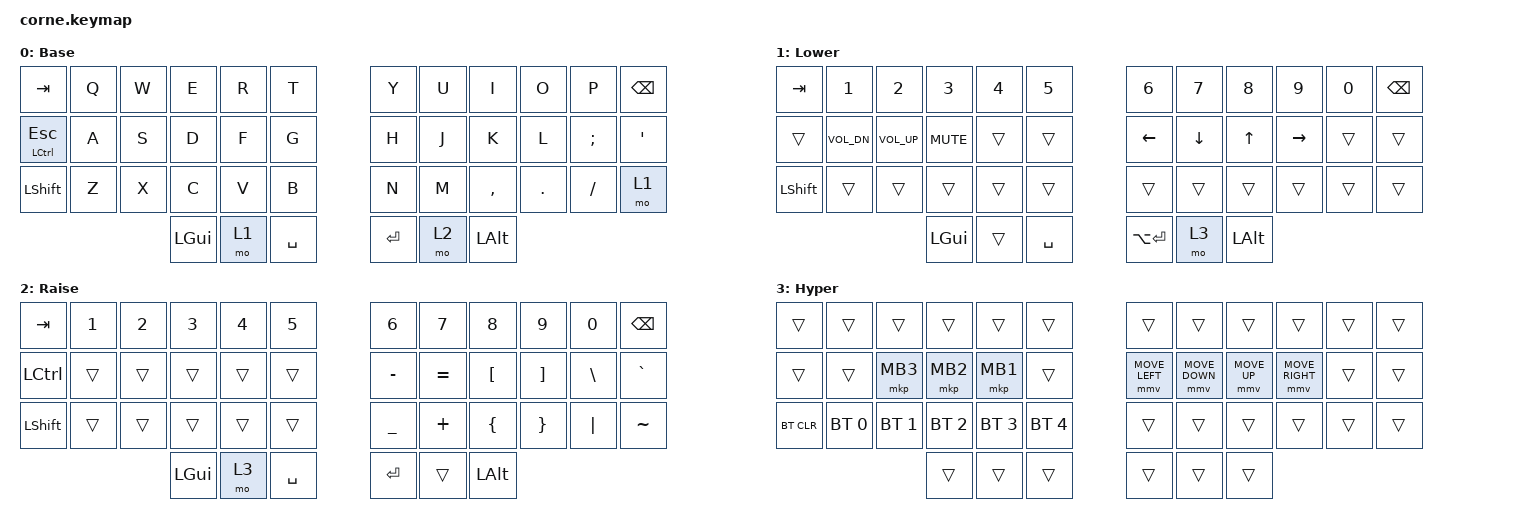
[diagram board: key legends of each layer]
/*
 * Copyright (c) 2020 The ZMK Contributors
 *
 * SPDX-License-Identifier: MIT
 */

#include <behaviors.dtsi>
#include <dt-bindings/zmk/keys.h>
#include <dt-bindings/zmk/bt.h>
#include <dt-bindings/zmk/pointing.h>

/ {
        behaviors {
                mt_esc: mod_tap_esc {
                        compatible = "zmk,behavior-hold-tap";
                        #binding-cells = <2>;
                        flavor = "hold-preferred";
                        tapping-term-ms = <150>;
                        bindings = <&kp>, <&kp>;
                };
        };

        keymap {
                compatible = "zmk,keymap";

                default_layer {
                        display-name = "Base";
// -----------------------------------------------------------------------------------------
// |  ESC |  Q  |  W  |  E  |  R  |  T  |   |  Y  |  U   |  I  |  O  |  P  | BSPC |
// | CTRL |  A  |  S  |  D  |  F  |  G  |   |  H  |  J   |  K  |  L  |  ;  |  '   |
// | SHFT |  Z  |  X  |  C  |  V  |  B  |   |  N  |  M   |  ,  |  .  |  /  | TAB  |
//                    | LWR | GUI | SPC |   | ENT | ALT | RSE |
                        bindings = <
   &kp TAB   &kp Q &kp W &kp E &kp R &kp T   &kp Y &kp U  &kp I     &kp O   &kp P    &kp BSPC
   &mt_esc LCTRL ESC &kp A &kp S &kp D &kp F &kp G   &kp H &kp J  &kp K     &kp L   &kp SEMI &kp SQT
   &kp LSHFT &kp Z &kp X &kp C &kp V &kp B   &kp N &kp M  &kp COMMA &kp DOT &kp FSLH &mo 1
                  &kp LGUI &mo 1 &kp SPACE   &kp RET  &mo 2 &kp LALT
                        >;
                };
                lower_layer {
                        display-name = "Lower";
// -----------------------------------------------------------------------------------------
// |  TAB |  1  |  2  |  3  |  4  |  5  |   |  6  |  7  |  8  |  9  |  0  | BSPC |
// | BTCLR| BT1 | BT2 | BT3 | BT4 | BT5 |   | LFT | DWN |  UP | RGT |     |      |
// | SHFT |     |     |     |     |     |   |     |     |     |     |     |      |
//                    | GUI |     | SPC |   | ENT |     | ALT |
                        bindings = <
   &kp TAB    &kp N1       &kp N2       &kp N3       &kp N4       &kp N5         &kp N6   &kp N7   &kp N8 &kp N9    &kp N0 &kp BSPC
   &trans     &kp C_VOL_DN &kp C_VOL_UP &kp C_MUTE   &trans       &trans         &kp LEFT &kp DOWN &kp UP &kp RIGHT &trans &trans
   &kp LSHFT  &trans       &trans       &trans       &trans       &trans         &trans   &trans   &trans &trans    &trans &trans
                                    &kp LGUI &trans &kp SPACE     &kp LA(RET)  &mo 3 &kp LALT
                        >;
                };

                raise_layer {
                        display-name = "Raise";
// -----------------------------------------------------------------------------------------
// |  TAB |  1  |  2  |  3  |  4  |  5  |   |  6  |  7  |  8  |  9  |  0  | BSPC |
// | CTRL |     |     |     |     |     |   |  -  |  =  |  [  |  ]  |  \  |  `   |
// | SHFT |     |     |     |     |     |   |  _  |  +  |  {  |  }  | "|" |  ~   |
//                    | GUI |     | SPC |   | ENT |     | ALT |
                        bindings = <
   &kp  TAB  &kp N1 &kp N2 &kp N3 &kp N4 &kp N5   &kp N6 &kp N7  &kp N8 &kp N9 &kp N0 &kp BSPC
   &kp LCTRL &trans   &trans &trans   &trans   &trans      &kp MINUS &kp EQUAL &kp LBKT  &kp RBKT &kp BSLH &kp GRAVE
   &kp LSHFT &trans   &trans &trans   &trans   &trans      &kp UNDER &kp PLUS  &kp LBRC  &kp RBRC &kp PIPE &kp TILDE
                             &kp LGUI &mo 3 &kp SPACE   &kp RET   &trans  &kp LALT
                        >;
                };

                adjust_layer {
                        display-name = "Hyper";
// -----------------------------------------------------------------------------------------
// |      |     |     |     |     |     |   |     |     |     |     |     |      |
// |      |     | MB3 | MB2 | MB1 |     |   | M_L | M_D | M_U | M_R |     |      |
// |bt clr   |     |     |     |     |     |   |     |     |     |     |     |      |
//                    |     |     |     |   |     |     |     |
                        bindings = <
   &trans &trans &trans        &trans        &trans        &trans   &trans      &trans      &trans    &trans       &trans &trans
   &trans &trans &mkp MB3      &mkp MB2      &mkp MB1      &trans   &mmv MOVE_LEFT &mmv MOVE_DOWN &mmv MOVE_UP &mmv MOVE_RIGHT &trans &trans
   &bt BT_CLR &bt BT_SEL 0 &bt BT_SEL 1 &bt BT_SEL 2 &bt BT_SEL 3 &bt BT_SEL 4 &trans      &trans      &trans    &trans       &trans &trans
                               &trans        &trans        &trans   &trans      &trans      &trans
                        >;
                };
        };
};
